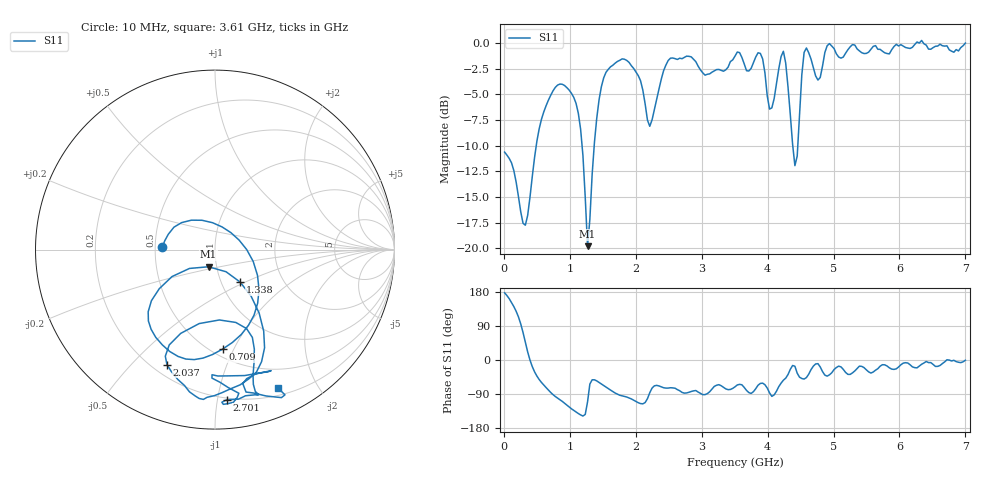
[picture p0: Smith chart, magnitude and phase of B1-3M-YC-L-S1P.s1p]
!File created by NanoVNA
# Hz S RI R 50
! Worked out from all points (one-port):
!   201 points, 10 MHz to 7 GHz, reference 50 ohm
!   lowest |S11| = -19.8 dB at 1.268 GHz (marker M1), VSWR 1.23, Z = 45.7 - j8.84 ohm
!   |S11| at or under -10 dB: start of sweep to 490.1 MHz; 1.185 GHz to 1.369 GHz (184.4 MHz wide, 14.4 % of centre); 4.381 GHz to 4.458 GHz (76.52 MHz wide, 1.73 % of centre)
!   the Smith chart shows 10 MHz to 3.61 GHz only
!   S11 on the Smith chart (normalised r, x): 10 MHz: 0.55, +0.02; 709 MHz: 0.56, -0.91; 1.338 GHz: 1.23, -0.47; 2.037 GHz: 0.26, -0.63; 2.701 GHz: 0.19, -1.06; 3.61 GHz: 0.27, -1.52
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1e7  -0.2936 0.0137
3.2455e8  0.0886 0.0944
7.09e8  0.0423 -0.5543
8.8375e8  -0.2061 -0.5951
1.1284e9  -0.3541 -0.2845
1.2682e9  -0.036 -0.0957
1.3381e9  0.1402 -0.1811
1.7575e9  -0.044 -0.8229
2.0371e9  -0.2678 -0.6404
2.21185e9  0.0244 -0.392
2.63125e9  0.1701 -0.8143
2.70115e9  0.0657 -0.8364
3.505e9  0.2845 -0.8155
3.60985e9  0.3534 -0.7733
3.74965e9  0.0233 -0.7521
3.9244e9  0.405 -0.7327
4.0642e9  -0.0504 -0.4805
4.23895e9  0.5446 -0.7313
4.37875e9  0.311 -0.0802
4.5535e9  0.5759 -0.693
4.7632e9  0.6508 -0.111
4.903e9  0.7143 -0.6563
5.07775e9  0.8209 -0.2386
5.2525e9  0.7555 -0.5901
5.3923e9  0.8793 -0.2559
5.56705e9  0.7689 -0.5274
6.12625e9  0.9367 -0.1306
7e9  0.9996 -0.0115
